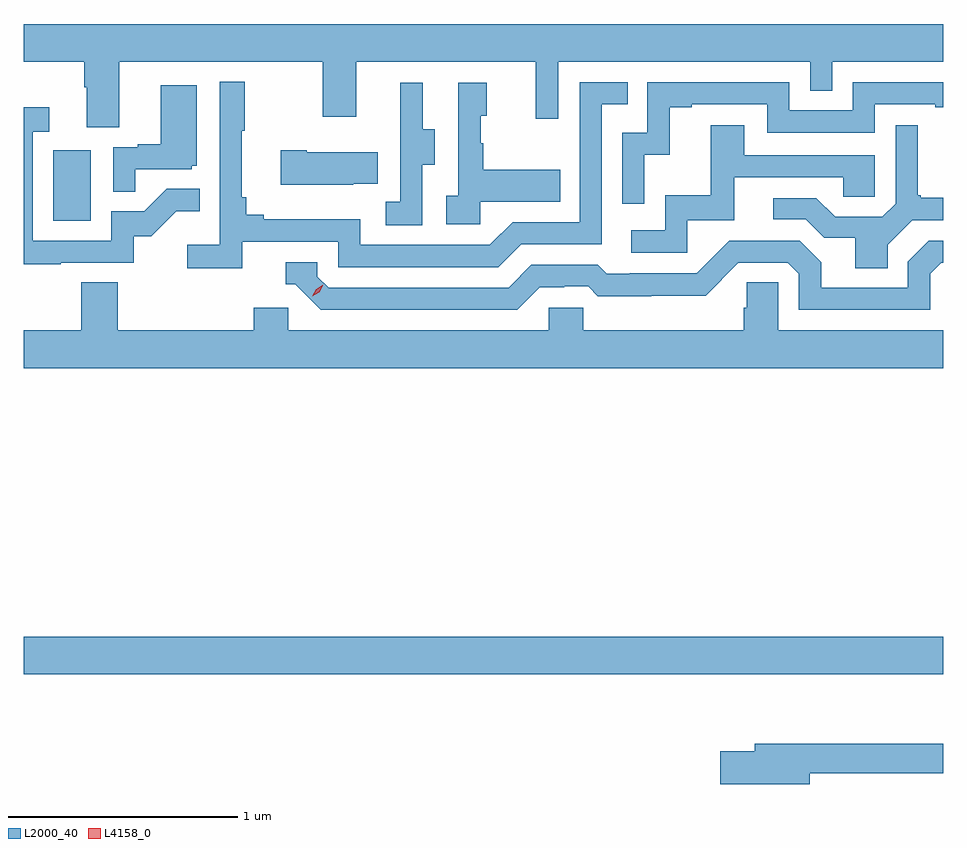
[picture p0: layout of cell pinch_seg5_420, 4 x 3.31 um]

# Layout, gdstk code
import gdstk
lib = gdstk.Library(unit=1e-6, precision=1e-09)
def R(c, l, rs):  # rectangles x0, y0, x1, y1
    for r in rs: c.add(gdstk.rectangle(r[:2], r[2:], *l))
def P(c, l, *ps):  # polygons
    for p in ps: c.add(gdstk.Polygon(p, *l))
L2000_40 = (2000, 40)
L4158_0 = (4158, 0)

pinch_seg5_420 = lib.new_cell('pinch_seg5_420')
R(pinch_seg5_420, L2000_40, [(956.622,862.088,960.622,862.252), (956.75,864.06,956.914,864.367)])
P(pinch_seg5_420, L2000_40, [(957.037,864.752),(957.922,864.752),(957.922,864.513),(958.069,864.513),(958.069,864.752),(958.85,864.752),(958.85,864.504),(958.947,864.504),(958.947,864.752),(960.042,864.752),(960.042,864.625),(960.138,864.625),(960.138,864.752),(960.622,864.752),(960.622,864.916),(956.622,864.916),(956.622,864.752),(956.885,864.752),(956.885,864.64),(956.897,864.64),(956.897,864.466),(957.037,864.466)],
  [(957.572,863.97),(957.99,863.97),(957.99,863.859),(958.687,863.859),(958.786,863.958),(959.136,863.958),(959.136,864.567),(959.249,864.567),(959.249,864.663),(959.04,864.663),(959.04,864.054),(958.749,864.054),(958.65,863.955),(958.086,863.955),(958.086,864.067),(957.667,864.067),(957.667,864.086),(957.59,864.086),(957.59,864.163),(957.571,864.163),(957.571,864.451),(957.583,864.451),(957.583,864.664),(957.474,864.664),(957.474,863.956),(957.333,863.956),(957.333,863.854),(957.572,863.854)],
  [(959.322,864.347),(959.432,864.347),(959.432,864.555),(959.527,864.555),(959.527,864.567),(959.856,864.567),(959.856,864.444),(960.324,864.444),(960.324,864.567),(960.587,864.567),(960.587,864.555),(960.622,864.555),(960.622,864.663),(960.228,864.663),(960.228,864.54),(959.952,864.54),(959.952,864.663),(959.334,864.663),(959.334,864.444),(959.226,864.444),(959.226,864.135),(959.322,864.135)],
  [(958.356,864.304),(958.411,864.304),(958.411,864.459),(958.357,864.459),(958.357,864.661),(958.259,864.661),(958.259,864.447),(958.26,864.447),(958.26,864.143),(958.197,864.143),(958.197,864.04),(958.356,864.04)],
  [(958.608,864.143),(958.955,864.143),(958.955,864.283),(958.621,864.283),(958.621,864.398),(958.611,864.398),(958.611,864.516),(958.636,864.516),(958.636,864.661),(958.512,864.661),(958.512,864.17),(958.461,864.17),(958.461,864.045),(958.608,864.045)],
  [(957.107,864.285),(957.354,864.285),(957.354,864.3),(957.376,864.3),(957.376,864.649),(957.218,864.649),(957.218,864.394),(957.119,864.394),(957.119,864.381),(957.012,864.381),(957.012,864.187),(957.107,864.187)],
  [(956.783,863.877),(957.102,863.877),(957.102,863.994),(957.178,863.994),(957.285,864.101),(957.389,864.101),(957.389,864.2),(957.245,864.2),(957.147,864.102),(957.003,864.102),(957.003,863.973),(956.661,863.973),(956.661,864.447),(956.734,864.447),(956.734,864.553),(956.622,864.553),(956.622,863.872),(956.783,863.872)],
  [(959.508,864.063),(959.713,864.063),(959.713,864.249),(960.187,864.249),(960.187,864.165),(960.324,864.165),(960.324,864.345),(959.755,864.345),(959.755,864.475),(959.611,864.475),(959.611,864.172),(959.412,864.172),(959.412,864.018),(959.265,864.018),(959.265,863.922),(959.508,863.922)],
  [(960.379,863.956),(960.486,864.063),(960.622,864.063),(960.622,864.16),(960.523,864.16),(960.523,864.172),(960.511,864.172),(960.511,864.475),(960.414,864.475),(960.414,864.135),(960.357,864.078),(960.151,864.078),(960.07,864.159),(959.883,864.159),(959.883,864.066),(960.024,864.066),(960.104,863.986),(960.239,863.986),(960.239,863.854),(960.379,863.854)],
  [(958.055,864.221),(958.163,864.221),(958.163,864.358),(957.853,864.358),(957.853,864.366),(957.741,864.366),(957.741,864.218),(958.055,864.218)],
  [(958.867,863.772),(958.974,863.772),(958.974,863.775),(959.077,863.775),(959.119,863.733),(959.352,863.733),(959.352,863.735),(959.588,863.735),(959.73,863.877),(959.946,863.877),(959.994,863.829),(959.994,863.673),(960.564,863.673),(960.564,863.829),(960.612,863.877),(960.622,863.877),(960.622,863.973),(960.558,863.973),(960.468,863.883),(960.468,863.769),(960.091,863.769),(960.091,863.879),(959.997,863.973),(959.691,863.973),(959.55,863.832),(959.257,863.832),(959.257,863.829),(959.158,863.829),(959.119,863.868),(958.83,863.868),(958.731,863.769),(957.948,863.769),(957.9,863.817),(957.9,863.88),(957.761,863.88),(957.761,863.784),(957.804,863.784),(957.915,863.673),(958.768,863.673)],
  [(960.622,863.584),(959.904,863.584),(959.904,863.792),(959.767,863.792),(959.767,863.682),(959.753,863.682),(959.753,863.584),(959.055,863.584),(959.055,863.682),(958.905,863.682),(958.905,863.584),(957.774,863.584),(957.774,863.682),(957.623,863.682),(957.623,863.584),(957.032,863.584),(957.032,863.792),(956.872,863.792),(956.872,863.584),(956.622,863.584),(956.622,863.42),(960.622,863.42)],
  [(960.04,861.658),(960.622,861.658),(960.622,861.787),(959.801,861.787),(959.801,861.753),(959.652,861.753),(959.652,861.611),(960.04,861.611)])
P(pinch_seg5_420, L4158_0, [(957.877,863.731),(957.877,863.731),(957.894,863.763),(957.925,863.782),(957.925,863.782),(957.925,863.782),(957.908,863.75),(957.877,863.731)])

lib.write_gds('pinch_seg5_420.gds')
